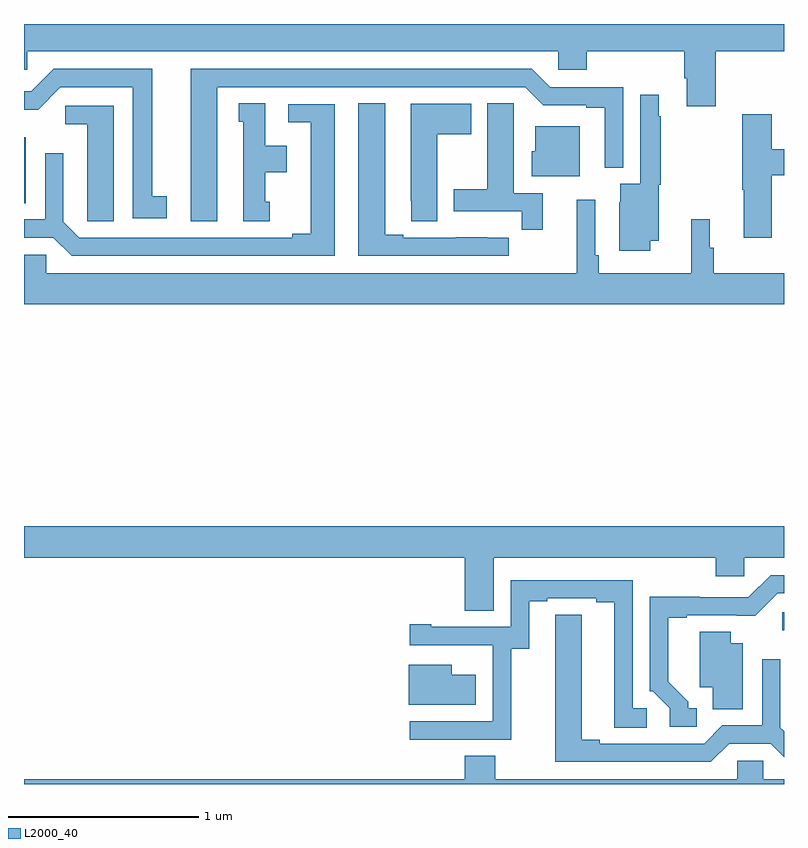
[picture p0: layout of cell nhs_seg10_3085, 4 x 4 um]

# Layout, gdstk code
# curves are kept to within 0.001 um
import gdstk
lib = gdstk.Library(unit=1e-6, precision=1e-09)
def R(c, l, rs):  # rectangles x0, y0, x1, y1
    for r in rs: c.add(gdstk.rectangle(r[:2], r[2:], *l))
def P(c, l, *ps):  # polygons
    for p in ps: c.add(gdstk.Polygon(p, *l))
L2000_40 = (2000, 40)

nhs_seg10_3085 = lib.new_cell('nhs_seg10_3085')
R(nhs_seg10_3085, L2000_40, [(282.99,1257.308,283,1257.405), (279,1259.557,279.01,1259.905)])
P(nhs_seg10_3085, L2000_40, [(282.641,1260.356),(283,1260.356),(283,1260.5),(279,1260.5),(279,1260.258),(279.018,1260.258),(279.018,1260.356),(281.811,1260.356),(281.811,1260.258),(281.963,1260.258),(281.963,1260.356),(282.476,1260.356),(282.476,1260.214),(282.488,1260.214),(282.488,1260.066),(282.641,1260.066)],
  [(279.751,1259.594),(279.676,1259.594),(279.676,1260.264),(279.156,1260.264),(279.039,1260.147),(279,1260.147),(279,1260.05),(279.074,1260.05),(279.192,1260.168),(279.572,1260.168),(279.572,1259.478),(279.751,1259.478)],
  [(280.018,1260.168),(281.637,1260.168),(281.733,1260.072),(281.96,1260.072),(281.96,1260.06),(282.056,1260.06),(282.056,1259.744),(282.153,1259.744),(282.153,1260.168),(281.769,1260.168),(281.673,1260.264),(279.878,1260.264),(279.878,1259.463),(280.018,1259.463)],
  [(282.295,1259.36),(282.34,1259.36),(282.34,1259.655),(282.352,1259.655),(282.352,1260.014),(282.34,1260.014),(282.34,1260.127),(282.243,1260.127),(282.243,1259.659),(282.137,1259.659),(282.137,1259.562),(282.134,1259.562),(282.134,1259.307),(282.295,1259.307)],
  [(280.294,1259.565),(280.27,1259.565),(280.27,1259.72),(280.384,1259.72),(280.384,1259.86),(280.27,1259.86),(280.27,1260.083),(280.13,1260.083),(280.13,1259.985),(280.154,1259.985),(280.154,1259.463),(280.294,1259.463)],
  [(281.551,1259.376),(281.438,1259.376),(281.438,1259.377),(281.272,1259.377),(281.272,1259.376),(280.996,1259.376),(280.996,1259.391),(280.9,1259.391),(280.9,1260.083),(280.76,1260.083),(280.76,1259.28),(281.551,1259.28)],
  [(281.729,1259.61),(281.578,1259.61),(281.578,1259.972),(281.577,1259.972),(281.577,1260.083),(281.438,1260.083),(281.438,1259.631),(281.261,1259.631),(281.261,1259.514),(281.62,1259.514),(281.62,1259.418),(281.729,1259.418)],
  [(281.176,1259.92),(281.353,1259.92),(281.353,1260.079),(281.036,1260.079),(281.036,1259.569),(281.037,1259.569),(281.037,1259.461),(281.176,1259.461)],
  [(280.636,1260.078),(280.392,1260.078),(280.392,1259.982),(280.508,1259.982),(280.508,1259.396),(280.412,1259.396),(280.412,1259.376),(279.291,1259.376),(279.207,1259.46),(279.207,1259.821),(279.111,1259.821),(279.111,1259.472),(279,1259.472),(279,1259.376),(279.155,1259.376),(279.251,1259.28),(280.636,1259.28)],
  [(279.472,1260.069),(279.216,1260.069),(279.216,1259.972),(279.332,1259.972),(279.332,1259.569),(279.333,1259.569),(279.333,1259.461),(279.472,1259.461)],
  [(282.935,1259.704),(283,1259.704),(283,1259.84),(282.935,1259.84),(282.935,1260.025),(282.781,1260.025),(282.781,1259.627),(282.788,1259.627),(282.788,1259.376),(282.935,1259.376)],
  [(281.926,1259.962),(281.69,1259.962),(281.69,1259.829),(281.672,1259.829),(281.672,1259.699),(281.926,1259.699)],
  [(283,1259.188),(282.629,1259.188),(282.629,1259.322),(282.61,1259.322),(282.61,1259.473),(282.512,1259.473),(282.512,1259.188),(282.026,1259.188),(282.026,1259.284),(282.006,1259.284),(282.006,1259.575),(281.909,1259.575),(281.909,1259.188),(279.117,1259.188),(279.117,1259.286),(279,1259.286),(279,1259.024),(283,1259.024)],
  [(281.473,1257.692),(282.641,1257.692),(282.641,1257.594),(282.792,1257.594),(282.792,1257.692),(283,1257.692),(283,1257.856),(279,1257.856),(279,1257.692),(281.321,1257.692),(281.321,1257.412),(281.473,1257.412)],
  [(282.541,1256.898),(282.496,1256.898),(282.496,1256.933),(282.391,1257.038),(282.391,1257.375),(282.487,1257.375),(282.487,1257.387),(282.848,1257.386),(282.966,1257.504),(283,1257.504),(283,1257.6),(282.93,1257.6),(282.813,1257.483),(282.557,1257.483),(282.557,1257.485),(282.294,1257.485),(282.294,1256.988),(282.309,1256.988),(282.399,1256.898),(282.399,1256.802),(282.541,1256.802)],
  [(281.565,1257.211),(281.659,1257.211),(281.659,1257.462),(281.755,1257.462),(281.755,1257.477),(282.011,1257.477),(282.011,1257.457),(282.107,1257.457),(282.107,1256.797),(282.277,1256.797),(282.277,1256.898),(282.204,1256.898),(282.204,1257.573),(281.562,1257.573),(281.562,1257.327),(281.143,1257.327),(281.143,1257.34),(281.031,1257.34),(281.031,1257.231),(281.465,1257.231),(281.465,1257.23),(281.466,1257.23),(281.466,1256.829),(281.031,1256.829),(281.031,1256.733),(281.565,1256.733)],
  [(282.711,1256.712),(282.929,1256.712),(283,1256.641),(283,1256.777),(282.981,1256.796),(282.981,1257.157),(282.885,1257.157),(282.885,1256.808),(282.675,1256.808),(282.579,1256.712),(282.031,1256.712),(282.031,1256.732),(281.935,1256.732),(281.935,1257.392),(281.796,1257.392),(281.795,1256.616),(282.615,1256.616)],
  [(282.784,1257.241),(282.721,1257.241),(282.721,1257.302),(282.557,1257.302),(282.557,1257.008),(282.626,1257.008),(282.626,1256.893),(282.784,1256.893)],
  [(281.377,1257.076),(281.251,1257.076),(281.251,1257.127),(281.024,1257.127),(281.024,1256.918),(281.377,1256.918)],
  [(283,1256.524),(282.891,1256.524),(282.891,1256.622),(282.753,1256.622),(282.753,1256.524),(281.481,1256.524),(281.481,1256.648),(281.321,1256.648),(281.321,1256.524),(279,1256.524),(279,1256.5),(283,1256.5)])

lib.write_gds('nhs_seg10_3085.gds')
